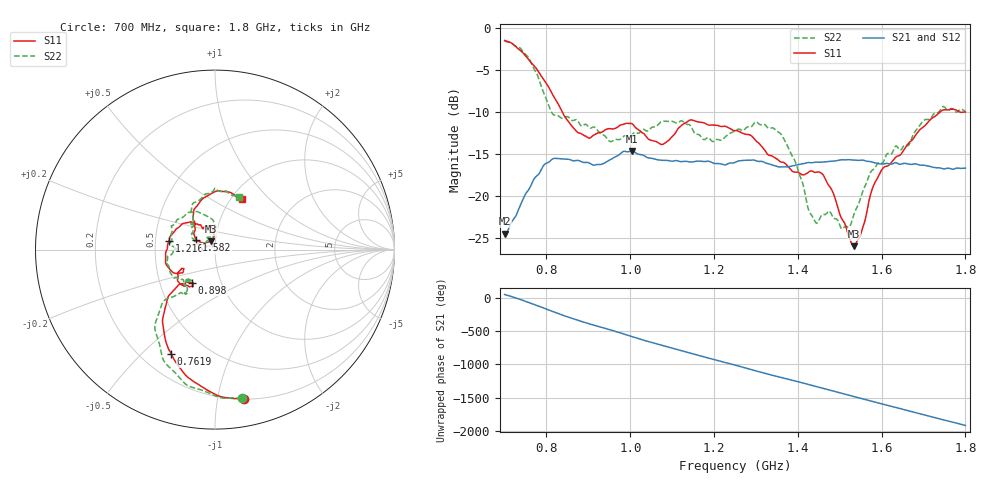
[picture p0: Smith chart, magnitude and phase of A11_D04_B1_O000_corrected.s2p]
! Created with skrf 1.9.0 (http://scikit-rf.org).
# Hz S RI R 50.0
!freq ReS11 ImS11 ReS21 ImS21 ReS12 ImS12 ReS22 ImS22
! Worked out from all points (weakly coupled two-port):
!   1601 points, 700 MHz to 1.8 GHz, reference 50 ohm
!   highest |S21| = -14.60 dB at 1.005 GHz (marker M1); lowest = -24.5 dB at 701.4 MHz (marker M2)
!   lowest |S11| = -26.0 dB at 1.533 GHz (marker M3), VSWR 1.11, Z = 47.8 + j4.42 ohm
!   |S11| at or under -10 dB: 837.9 MHz to 1.739 GHz (900.7 MHz wide, 69.9 % of centre); 1.788951 GHz to 1.790959 GHz (2.009 MHz wide, 0.112 % of centre); 1.79124 GHz to 1.792147 GHz (907.5 kHz wide, 0.0506 % of centre)
!   |S22| runs from -23.9 to -1.5 dB; largest |S21 - S12| = 0.0035
!   S11 on the Smith chart (normalised r, x): 700 MHz: 0.20, -1.19; 761.9 MHz: 0.32, -0.62; 898 MHz: 0.73, -0.28; 1.216 GHz: 0.59, +0.06; 1.582 GHz: 0.81, +0.09; 1.8 GHz: 1.12, +0.70
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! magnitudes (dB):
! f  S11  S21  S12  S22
! 700 MHz  -1.4  -24.5  -24.2  -1.5
! 701.4 MHz  -1.5  -24.5  -24.1  -1.5
! 761.9 MHz  -4.0  -18.8  -18.8  -3.9
! 814.8 MHz  -7.9  -15.6  -15.6  -10.2
! 883.6 MHz  -12.6  -15.9  -15.8  -11.6
! 898 MHz  -13.0  -16.0  -16.0  -11.6
! 953 MHz  -12.0  -15.6  -15.6  -13.5
! 1.005 GHz  -11.4  -14.6  -14.7  -12.6
! 1.067 GHz  -13.6  -15.7  -15.6  -11.4
! 1.143 GHz  -10.9  -15.9  -15.9  -11.5
! 1.216 GHz  -11.7  -16.1  -16.1  -13.3
! 1.25 GHz  -12.2  -16.0  -15.9  -12.2
! 1.359 GHz  -15.9  -16.5  -16.5  -12.5
! 1.394 GHz  -17.1  -16.3  -16.3  -16.0
! 1.434 GHz  -17.0  -16.0  -16.0  -22.3
! 1.48 GHz  -19.1  -15.8  -15.8  -22.1
! 1.507 GHz  -22.9  -15.7  -15.6  -23.9
! 1.533 GHz  -26.0  -15.7  -15.7  -22.3
! 1.582 GHz  -18.6  -16.0  -16.0  -16.7
! 1.617 GHz  -16.3  -16.1  -16.1  -14.9
! 1.742 GHz  -9.9  -16.7  -16.6  -9.6
! 1.8 GHz  -10.0  -16.6  -16.6  -9.9
